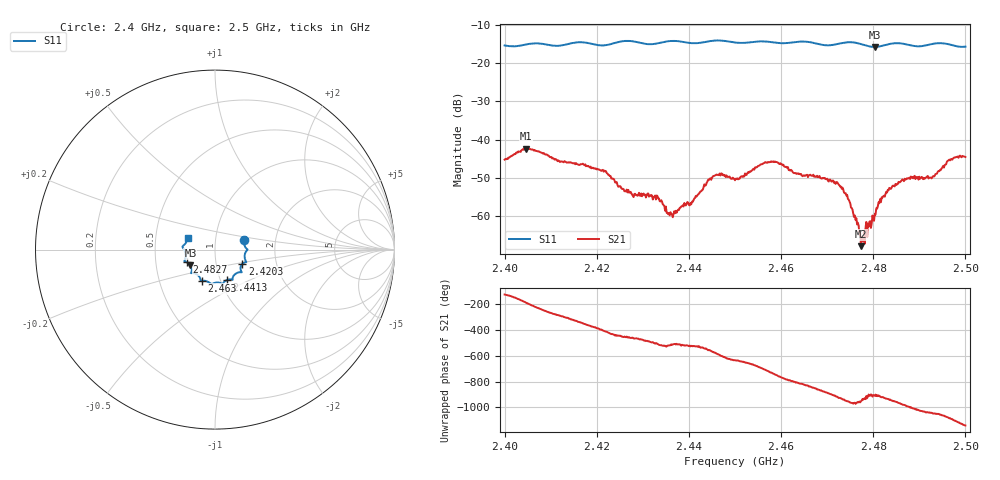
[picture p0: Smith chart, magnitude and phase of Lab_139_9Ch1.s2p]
# Hz S RI R 50
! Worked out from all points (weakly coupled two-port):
!   601 points, 2.4 GHz to 2.5 GHz, reference 50 ohm
!   highest |S21| = -42.31 dB at 2.4047 GHz (marker M1); lowest = -67.8 dB at 2.4773 GHz (marker M2)
!   lowest |S11| = -15.8 dB at 2.4803 GHz (marker M3), VSWR 1.39, Z = 37.4 - j6.75 ohm
!   |S11| at or under -10 dB: start of sweep to end of sweep
!   S12 and S22 are empty: the file has one direction only
!   S11 on the Smith chart (normalised r, x): 2.4 GHz: 1.38, +0.15; 2.4203 GHz: 1.34, -0.22; 2.4413 GHz: 1.08, -0.38; 2.463 GHz: 0.82, -0.29; 2.4827 GHz: 0.72, -0.10; 2.5 GHz: 0.73, +0.10
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2.4e9  0.1617 0.0529  -0.00318 -0.00448  0 0  0 0
2.404667e9  0.1753 0.00525  -0.00756 0.00128  0 0  0 0
2.416667e9  0.1742 -0.0693  0.00459 0.00135  0 0  0 0
2.420333e9  0.1522 -0.0795  0.00358 -0.00194  0 0  0 0
2.4275e9  0.1475 -0.1259  -0.000389 -0.00196  0 0  0 0
2.433333e9  0.1 -0.1521  -0.0015 -0.000828  0 0  0 0
2.436e9  0.0982 -0.168  -0.00104 -0.000439  0 0  0 0
2.441333e9  0.0671 -0.1692  -0.00168 -0.000432  0 0  0 0
2.445667e9  0.0428 -0.1925  -0.00278 0.00199  0 0  0 0
2.45e9  0.0244 -0.1844  0.000255 0.00294  0 0  0 0
2.457833e9  -0.0287 -0.186  0.00514 -0.000886  0 0  0 0
2.463e9  -0.0728 -0.1737  0.000447 -0.00365  0 0  0 0
2.466667e9  -0.0806 -0.1676  -0.00189 -0.00281  0 0  0 0
2.473e9  -0.1267 -0.1303  -0.0021 0.00125  0 0  0 0
2.4745e9  -0.1336 -0.1315  -0.00103 0.00134  0 0  0 0
2.477333e9  -0.1299 -0.1207  -0.000248 0.000323  0 0  0 0
2.480333e9  -0.137 -0.0879  -0.00106 0.000187  0 0  0 0
2.482667e9  -0.1579 -0.0706  -0.00169 0.001  0 0  0 0
2.483333e9  -0.163 -0.0683  -0.00177 0.00128  0 0  0 0
2.492833e9  -0.1776 0.00888  0.00265 0.00191  0 0  0 0
2.4965e9  -0.1738 0.0246  0.00547 -0.00043  0 0  0 0
2.5e9  -0.1509 0.0645  0.00299 -0.00515  0 0  0 0
